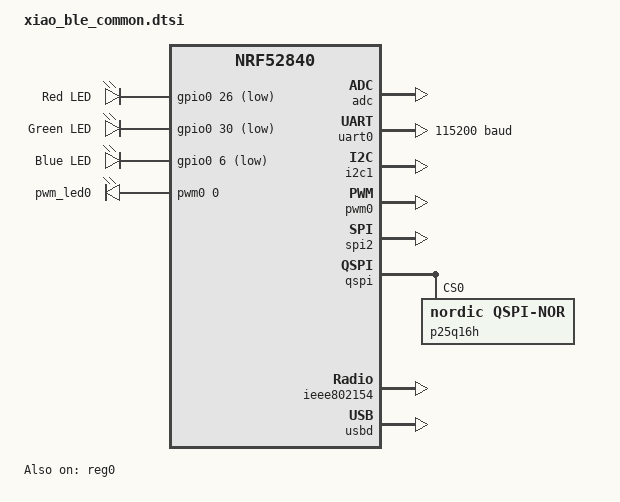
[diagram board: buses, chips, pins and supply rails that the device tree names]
/*
 * Copyright (c) 2022 Marcin Niestroj
 * Copyright (c) 2022 Peter Johanson
 *
 * SPDX-License-Identifier: Apache-2.0
 */

#include <nordic/nrf52840_qiaa.dtsi>
#include <nordic/nrf52840_partition_uf2_sdv7.dtsi>
#include "xiao_ble-pinctrl.dtsi"
#include "seeed_xiao_connector.dtsi"

/ {
	chosen {
		zephyr,ieee802154 = &ieee802154;
	};

	leds {
		compatible = "gpio-leds";
		led0: led_0 {
			gpios = <&gpio0 26 GPIO_ACTIVE_LOW>;
			label = "Red LED";
		};
		led1: led_1 {
			gpios = <&gpio0 30 GPIO_ACTIVE_LOW>;
			label = "Green LED";
		};
		led2: led_2 {
			gpios = <&gpio0 6 GPIO_ACTIVE_LOW>;
			label = "Blue LED";
		};
	};

	pwmleds {
		compatible = "pwm-leds";
		pwm_led0: pwm_led_0 {
			pwms = <&pwm0 0 PWM_MSEC(20) PWM_POLARITY_INVERTED>;
		};
	};

	/* These aliases are provided for compatibility with samples */
	aliases {
		led0 = &led0;
		led1 = &led1;
		led2 = &led2;
		pwm-led0 = &pwm_led0;
		bootloader-led0 = &led0;
		mcuboot-led0 = &led0;
		watchdog0 = &wdt0;
	};
};

&reg0 {
	status = "okay";
};

&reg1 {
	regulator-initial-mode = <NRF5X_REG_MODE_DCDC>;
};

&adc {
	status = "okay";
};

&uicr {
	gpio-as-nreset;
};

&gpiote {
	status = "okay";
};

&gpio0 {
	status = "okay";
};

&gpio1 {
	status = "okay";
};

&uart0 {
	compatible = "nordic,nrf-uarte";
	status = "okay";
	current-speed = <115200>;
	pinctrl-0 = <&uart0_default>;
	pinctrl-1 = <&uart0_sleep>;
	pinctrl-names = "default", "sleep";
};

&i2c1 {
	compatible = "nordic,nrf-twi";
	/* Cannot be used together with spi1. */
	status = "okay";
	pinctrl-0 = <&i2c1_default>;
	pinctrl-1 = <&i2c1_sleep>;
	pinctrl-names = "default", "sleep";
};

&pwm0 {
	status = "okay";
	pinctrl-0 = <&pwm0_default>;
	pinctrl-1 = <&pwm0_sleep>;
	pinctrl-names = "default", "sleep";
};

&spi2 {
	compatible = "nordic,nrf-spi";
	status = "okay";
	pinctrl-0 = <&spi2_default>;
	pinctrl-1 = <&spi2_sleep>;
	pinctrl-names = "default", "sleep";
};

&qspi {
	status = "okay";
	pinctrl-0 = <&qspi_default>;
	pinctrl-1 = <&qspi_sleep>;
	pinctrl-names = "default", "sleep";
	p25q16h: p25q16h@0 {
		compatible = "nordic,qspi-nor";
		reg = <0>;
		sck-frequency = <104000000>;
		quad-enable-requirements = "S2B1v1";
		jedec-id = [85 60 15];
		sfdp-bfp = [
			e5 20 f1 ff  ff ff ff 00  44 eb 08 6b  08 3b 80 bb
			ee ff ff ff  ff ff 00 ff  ff ff 00 ff  0c 20 0f 52
			10 d8 08 81
		];
		size = <16777216>;
		has-dpd;
		t-enter-dpd = <3000>;
		t-exit-dpd = <8000>;
	};
};

&ieee802154 {
	status = "okay";
};

zephyr_udc0: &usbd {
	compatible = "nordic,nrf-usbd";
	status = "okay";
};
